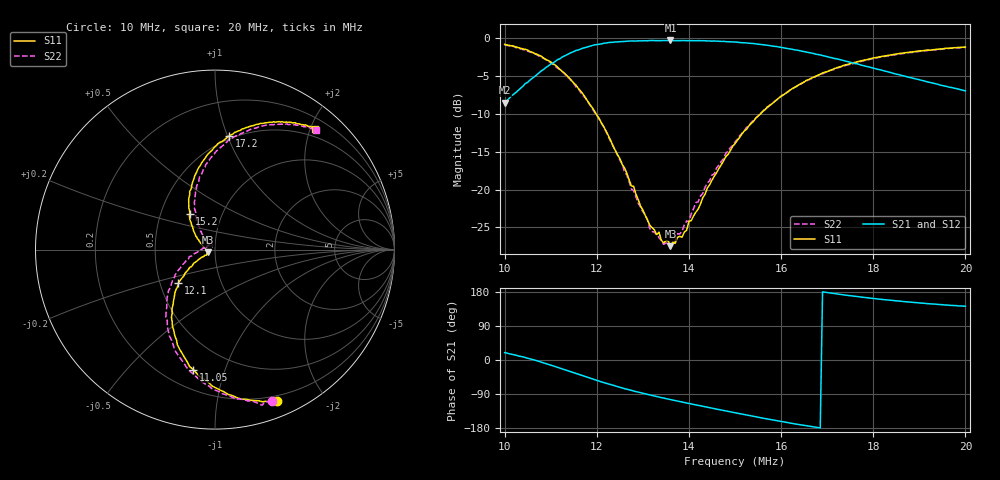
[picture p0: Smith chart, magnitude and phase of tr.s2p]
!Agilent Technologies,N5242A,MY48220567,A.08.20.12
!Agilent N5242A: A.08.20.12
!Date: Thursday, May 22, 2025 17:52:54
!Correction: S11(Full 2 Port(1,2))
!S21(Full 2 Port(1,2))
!S12(Full 2 Port(1,2))
!S22(Full 2 Port(1,2))
!S2P File: Measurements: S11, S21, S12, S22:
# Hz S  dB  R 50
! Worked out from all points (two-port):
!   201 points, 10 MHz to 20 MHz, reference 50 ohm
!   highest |S21| = -0.28 dB at 13.6 MHz (marker M1); lowest = -8.5 dB at 10 MHz (marker M2)
!   |S21| within 3 dB of the highest: 11.04 MHz to 17.57 MHz (6.527 MHz wide, 45.6 % of centre)
!   lowest |S11| = -27.5 dB at 13.6 MHz (marker M3), VSWR 1.09, Z = 46.2 - j1.33 ohm
!   |S11| at or under -10 dB: 11.99 MHz to 15.55 MHz (3.562 MHz wide, 25.9 % of centre)
!   |S22| runs from -27.4 to -0.9 dB; largest |S21 - S12| = 0.0081
!   S11 on the Smith chart (normalised r, x): 10 MHz: 0.15, -1.48; 11.05 MHz: 0.32, -0.79; 12.1 MHz: 0.62, -0.25; 15.2 MHz: 0.70, +0.30; 17.2 MHz: 0.48, +1.02; 20 MHz: 0.36, +2.08
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1e7  -0.80 -67.6  -8.52 19.5  -8.43 19.6  -0.90 -69.5
1.045e7  -1.45 -79.9  -5.97 6.4  -5.97 6.6  -1.53 -82.3
1.105e7  -3.36 -100.2  -3.25 -15.3  -3.21 -15.4  -3.44 -103.8
1.14e7  -5.21 -112.9  -2.02 -29.4  -1.96 -29.6  -5.31 -118.0
1.17e7  -7.35 -123.8  -1.29 -42.0  -1.25 -42.1  -7.55 -129.9
1.21e7  -11.16 -137.4  -0.74 -57.7  -0.73 -57.9  -11.22 -145.6
1.255e7  -16.65 -146.0  -0.43 -73.8  -0.43 -73.8  -16.54 -164.5
1.275e7  -19.50 -148.6  -0.34 -80.0  -0.36 -80.2  -19.89 -171.7
1.315e7  -24.70 -147.3  -0.29 -92.3  -0.30 -92.2  -25.14 170.7
1.335e7  -25.62 -151.0  -0.30 -97.7  -0.32 -97.8  -26.32 155.4
1.34e7  -26.68 -147.1  -0.30 -99.2  -0.29 -99.1  -26.73 158.6
1.36e7  -27.47 -160.1  -0.28 -104.4  -0.29 -104.4  -27.44 142.1
1.395e7  -25.37 174.1  -0.29 -113.4  -0.29 -113.4  -24.14 133.2
1.4e7  -24.19 173.2  -0.31 -114.7  -0.29 -114.7  -24.22 134.2
1.44e7  -19.77 150.9  -0.34 -124.6  -0.36 -124.6  -19.12 130.0
1.5e7  -13.92 131.4  -0.49 -139.2  -0.49 -139.0  -13.71 120.0
1.52e7  -12.24 125.3  -0.59 -143.9  -0.61 -143.7  -12.27 116.9
1.59e7  -8.13 108.8  -1.07 -160.0  -1.08 -159.8  -8.17 103.5
1.67e7  -5.13 91.7  -1.99 -176.5  -1.99 -176.3  -5.19 89.1
1.72e7  -3.90 82.8  -2.69 174.4  -2.69 174.5  -3.97 80.8
1.835e7  -2.22 66.4  -4.47 158.0  -4.46 157.9  -2.30 65.0
2e7  -1.16 50.3  -6.94 141.8  -6.92 141.8  -1.18 49.6
